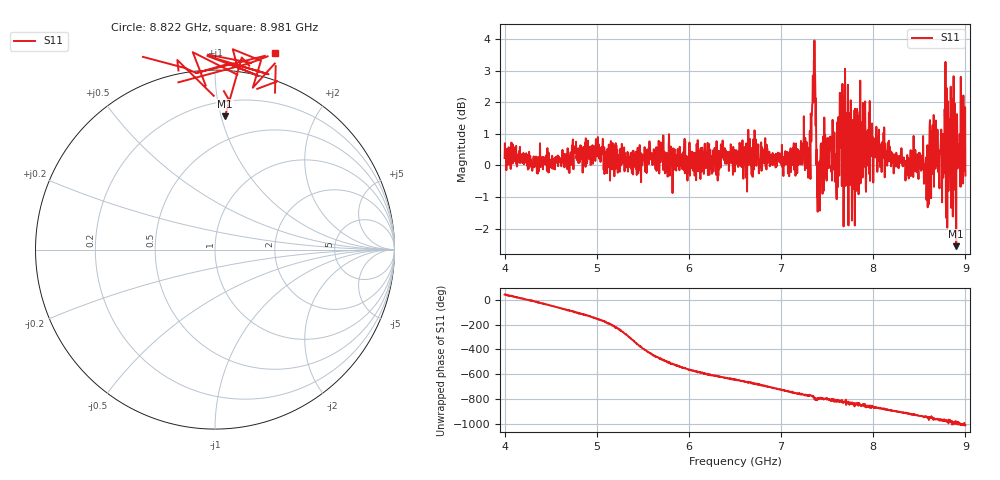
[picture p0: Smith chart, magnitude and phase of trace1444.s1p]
! Created with skrf 1.8.0 (http://scikit-rf.org).
# Hz S RI R 50.0
!freq ReS11 ImS11
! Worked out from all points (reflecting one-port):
!   1601 points, 4 GHz to 9 GHz, reference 50 ohm
!   lowest |S11| = -2.6 dB at 8.9 GHz (marker M1), VSWR 6.84, Z = 15.4 + j51.5 ohm
!   phase of S11 starts at 42 deg and turns -1052 deg over the sweep
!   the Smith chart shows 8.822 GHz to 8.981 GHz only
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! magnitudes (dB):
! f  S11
! 4 GHz  0.2
! 4.625 GHz  0.1
! 5.012 GHz  0.9
! 5.25 GHz  -0.2
! 5.875 GHz  0.1
! 6.5 GHz  0.0
! 7.125 GHz  0.0
! 7.294 GHz  -0.4
! 7.356 GHz  3.3
! 7.409 GHz  -0.5
! 7.453 GHz  0.0
! 7.553 GHz  -0.5
! 7.591 GHz  0.1
! 7.65 GHz  1.1
! 7.75 GHz  -0.2
! 7.784 GHz  0.2
! 7.834 GHz  1.6
! 7.966 GHz  -0.5
! 8.375 GHz  -0.2
! 8.522 GHz  -0.1
! 8.578 GHz  -1.1
! 8.631 GHz  1.1
! 8.728 GHz  0.4
! 8.834 GHz  1.2
! 8.841 GHz  2.5
! 8.9 GHz  -2.6
! 8.972 GHz  0.6
! 9 GHz  -0.3
